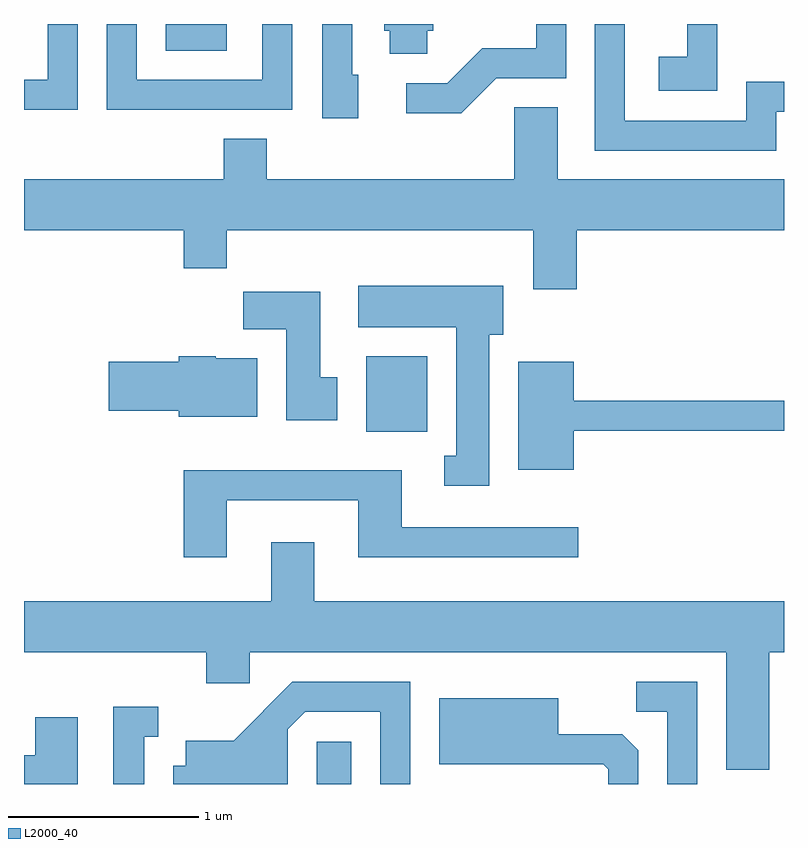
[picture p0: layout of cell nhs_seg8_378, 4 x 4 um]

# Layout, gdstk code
import gdstk
lib = gdstk.Library(unit=1e-6, precision=1e-09)
def R(c, l, rs):  # rectangles x0, y0, x1, y1
    for r in rs: c.add(gdstk.rectangle(r[:2], r[2:], *l))
def P(c, l, *ps):  # polygons
    for p in ps: c.add(gdstk.Polygon(p, *l))
L2000_40 = (2000, 40)

nhs_seg8_378 = lib.new_cell('nhs_seg8_378')
R(nhs_seg8_378, L2000_40, [(197.151,1882.342,197.334,1882.564), (197.411,1884.196,197.734,1884.594), (196.356,1886.201,196.679,1886.342)])
P(nhs_seg8_378, L2000_40, [(199.259,1886.342),(199.101,1886.342),(199.101,1886.169),(198.951,1886.169),(198.951,1885.991),(199.259,1885.991)],
  [(197.024,1886.342),(196.866,1886.342),(196.866,1886.049),(196.204,1886.049),(196.204,1886.342),(196.046,1886.342),(196.046,1885.891),(197.024,1885.891)],
  [(197.734,1886.306),(197.764,1886.306),(197.764,1886.342),(197.506,1886.342),(197.506,1886.306),(197.536,1886.306),(197.536,1886.186),(197.734,1886.186)],
  [(198.097,1886.056),(198.464,1886.056),(198.464,1886.342),(198.306,1886.342),(198.306,1886.214),(198.024,1886.214),(197.839,1886.029),(197.623,1886.029),(197.623,1885.871),(197.912,1885.871)],
  [(195.894,1886.342),(195.736,1886.342),(195.736,1886.049),(195.611,1886.049),(195.611,1885.891),(195.894,1885.891)],
  [(199.569,1885.881),(199.611,1885.881),(199.611,1886.039),(199.411,1886.039),(199.411,1885.834),(198.774,1885.834),(198.774,1886.342),(198.616,1886.342),(198.616,1885.676),(199.569,1885.676)],
  [(197.369,1886.074),(197.339,1886.074),(197.339,1886.342),(197.181,1886.342),(197.181,1885.846),(197.369,1885.846)],
  [(198.519,1885.256),(199.611,1885.256),(199.611,1885.524),(198.419,1885.524),(198.419,1885.904),(198.191,1885.904),(198.191,1885.524),(196.889,1885.524),(196.889,1885.739),(196.661,1885.739),(196.661,1885.524),(195.611,1885.524),(195.611,1885.256),(196.451,1885.256),(196.451,1885.056),(196.679,1885.056),(196.679,1885.256),(198.291,1885.256),(198.291,1884.946),(198.519,1884.946)],
  [(198.059,1884.706),(198.134,1884.706),(198.134,1884.964),(197.371,1884.964),(197.371,1884.746),(197.886,1884.746),(197.886,1884.069),(197.823,1884.069),(197.823,1883.911),(198.059,1883.911)],
  [(197.259,1884.484),(197.169,1884.484),(197.169,1884.934),(196.766,1884.934),(196.766,1884.736),(196.991,1884.736),(196.991,1884.256),(197.259,1884.256)],
  [(196.839,1884.584),(196.62,1884.584),(196.62,1884.594),(196.426,1884.594),(196.426,1884.564),(196.056,1884.564),(196.056,1884.306),(196.426,1884.306),(196.426,1884.276),(196.839,1884.276)],
  [(198.504,1884.201),(199.611,1884.201),(199.611,1884.359),(198.504,1884.359),(198.504,1884.564),(198.211,1884.564),(198.211,1883.996),(198.504,1883.996)],
  [(196.679,1883.836),(197.371,1883.836),(197.371,1883.536),(198.528,1883.536),(198.528,1883.694),(197.599,1883.694),(197.599,1883.994),(196.451,1883.994),(196.451,1883.536),(196.679,1883.536)],
  [(199.534,1883.036),(199.611,1883.036),(199.611,1883.304),(197.139,1883.304),(197.139,1883.614),(196.911,1883.614),(196.911,1883.304),(195.611,1883.304),(195.611,1883.036),(196.571,1883.036),(196.571,1882.871),(196.799,1882.871),(196.799,1883.036),(199.306,1883.036),(199.306,1882.416),(199.534,1882.416)],
  [(199.154,1882.879),(198.833,1882.879),(198.833,1882.721),(198.996,1882.721),(198.996,1882.342),(199.154,1882.342)],
  [(196.999,1882.629),(197.092,1882.721),(197.486,1882.721),(197.486,1882.342),(197.644,1882.342),(197.644,1882.879),(197.024,1882.879),(196.714,1882.569),(196.461,1882.569),(196.461,1882.439),(196.396,1882.439),(196.396,1882.342),(196.999,1882.342)],
  [(198.844,1882.519),(198.759,1882.604),(198.424,1882.604),(198.424,1882.794),(197.796,1882.794),(197.796,1882.446),(198.659,1882.446),(198.686,1882.419),(198.686,1882.342),(198.844,1882.342)],
  [(196.244,1882.591),(196.318,1882.591),(196.318,1882.749),(196.081,1882.749),(196.081,1882.342),(196.244,1882.342)],
  [(195.894,1882.694),(195.671,1882.694),(195.671,1882.494),(195.611,1882.494),(195.611,1882.342),(195.894,1882.342)])

lib.write_gds('nhs_seg8_378.gds')
